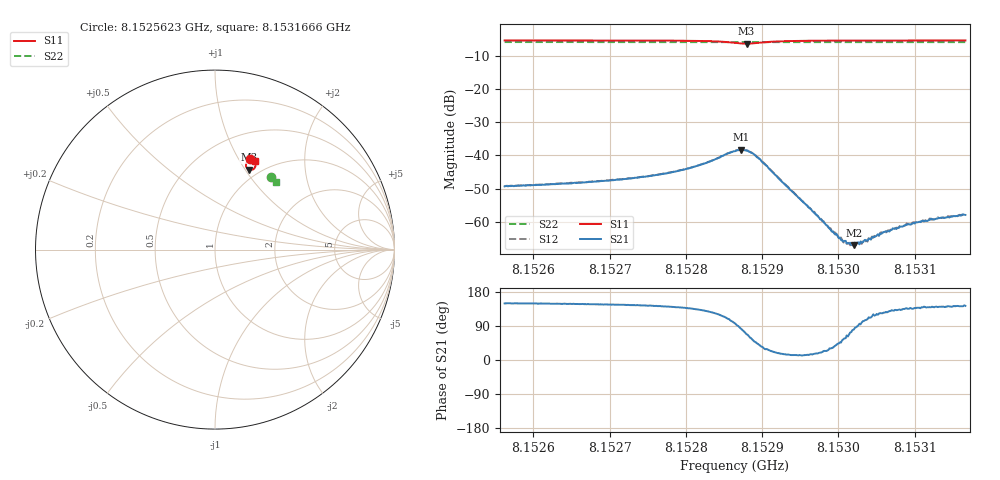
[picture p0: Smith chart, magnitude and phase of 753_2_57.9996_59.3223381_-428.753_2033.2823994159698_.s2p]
#  HZ  S  RI  R  50.00
! Rohde & Schwarz Vector Network Analyzer
! Rohde-Schwarz,ZNB20-2Port,1311601062101988,3.16
! Created: UTC 3/21/2024, 1:24:04 AM
! freq[Hz]  re:S11  im:S11  re:S21  im:S21  re:S12  im:S12  re:S22  im:S22
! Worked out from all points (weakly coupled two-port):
!   401 points, 8.1525623 GHz to 8.1531666 GHz, reference 50 ohm
!   highest |S21| = -38.23 dB at 8.152872 GHz (marker M1); lowest = -67.1 dB at 8.1530201 GHz (marker M2)
!   lowest |S11| = -6.3 dB at 8.1528796 GHz (marker M3), VSWR 2.88, Z = 44.6 + j52 ohm
!   |S11| at or under -10 dB: nowhere
!   |S22| runs from -5.9 to -5.8 dB; largest |S21 - S12| = 0.00031
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8.15256232e9  0.1935 0.5045  -0.00295 0.00175  -0.00294 0.00179  0.3131 0.4037
8.15266354e9  0.2023 0.5009  -0.0033 0.00208  -0.00329 0.00216  0.3182 0.3996
8.15271642e9  0.2076 0.4982  -0.00361 0.00245  -0.00358 0.00254  0.3206 0.3972
8.15276477e9  0.2135 0.4943  -0.00408 0.00315  -0.00408 0.00325  0.3233 0.3952
8.15281311e9  0.2217 0.4853  -0.00478 0.00496  -0.00475 0.005  0.3256 0.3929
8.15286448e9  0.215 0.4488  -0.00136 0.0115  -0.00122 0.0118  0.3271 0.3896
8.15287203e9  0.2029 0.4439  0.00144 0.0122  0.00161 0.0122  0.327 0.3892
8.15287959e9  0.1884 0.4459  0.00445 0.0111  0.00442 0.0111  0.3268 0.3891
8.15288714e9  0.1774 0.455  0.00638 0.00878  0.0064 0.00881  0.327 0.3895
8.1528947e9  0.1726 0.4664  0.00688 0.00624  0.00701 0.00608  0.3273 0.3896
8.15292038e9  0.1813 0.4903  0.00446 0.00147  0.00453 0.00147  0.3291 0.3895
8.1529657e9  0.1976 0.4973  0.00141 0.000369  0.00145 0.000418  0.3319 0.3875
8.15300347e9  0.2051 0.4975  0.000371 0.000384  0.000406 0.000413  0.334 0.3859
8.15300952e9  0.2059 0.4972  0.000279 0.000439  0.000277 0.000423  0.3342 0.3856
8.15302009e9  0.2077 0.497  7.81e-05 0.000436  8.05e-05 0.000423  0.3346 0.3852
8.15302765e9  0.2086 0.4969  -4.53e-05 0.000457  -1.91e-05 0.00047  0.3352 0.3848
8.15305937e9  0.2125 0.4959  -0.000404 0.000576  -0.000409 0.000575  0.3367 0.3835
8.15306693e9  0.2133 0.4958  -0.000449 0.000558  -0.000461 0.000571  0.3371 0.3831
8.15308959e9  0.2156 0.4952  -0.000655 0.000617  -0.000665 0.000673  0.3382 0.382
8.15309714e9  0.2164 0.495  -0.000664 0.000663  -0.000705 0.000672  0.3384 0.3818
8.15312132e9  0.2186 0.4942  -0.000846 0.000735  -0.000823 0.000702  0.3394 0.3808
8.15316664e9  0.2225 0.4927  -0.00101 0.000768  -0.00104 0.000803  0.3417 0.3787
